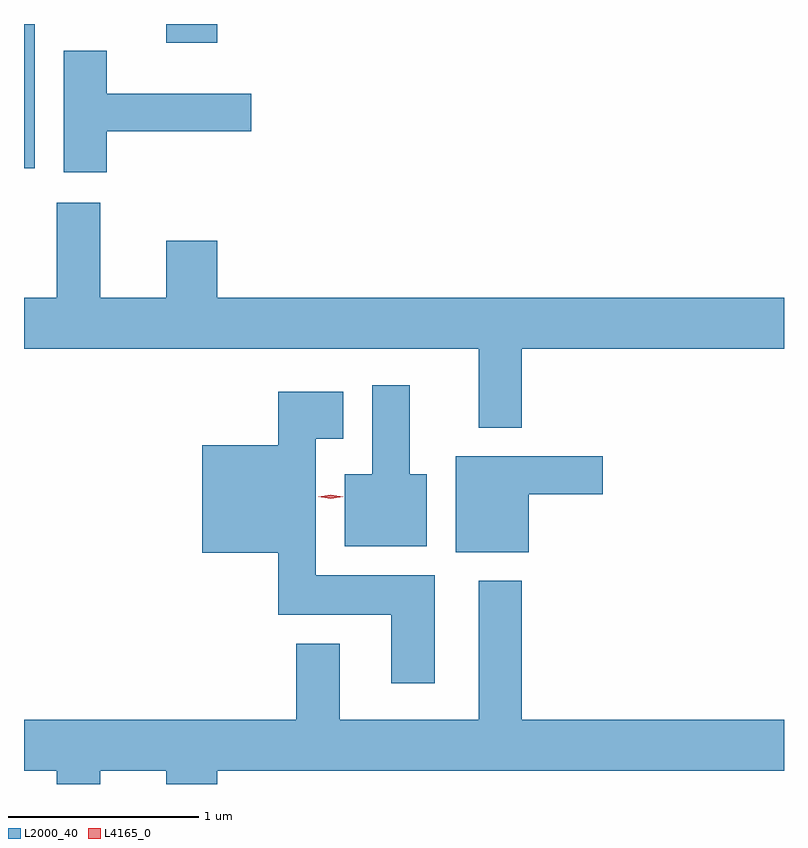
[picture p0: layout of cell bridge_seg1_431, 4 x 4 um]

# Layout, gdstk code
import gdstk
lib = gdstk.Library(unit=1e-6, precision=1e-09)
def R(c, l, rs):  # rectangles x0, y0, x1, y1
    for r in rs: c.add(gdstk.rectangle(r[:2], r[2:], *l))
def P(c, l, *ps):  # polygons
    for p in ps: c.add(gdstk.Polygon(p, *l))
L2000_40 = (2000, 40)
L4165_0 = (4165, 0)

bridge_seg1_431 = lib.new_cell('bridge_seg1_431')
R(bridge_seg1_431, L2000_40, [(374.168,878.326,374.224,879.085), (374.916,878.986,375.184,879.085)])
P(bridge_seg1_431, L2000_40, [(374.604,878.521),(375.364,878.521),(375.364,878.719),(374.604,878.719),(374.604,878.944),(374.376,878.944),(374.376,878.306),(374.604,878.306)],
  [(376.789,877.376),(378.168,877.376),(378.168,877.644),(375.184,877.644),(375.184,877.944),(374.916,877.944),(374.916,877.644),(374.569,877.644),(374.569,878.144),(374.341,878.144),(374.341,877.644),(374.168,877.644),(374.168,877.376),(376.561,877.376),(376.561,876.961),(376.789,876.961)],
  [(376.289,876.714),(376.199,876.714),(376.199,877.184),(376.001,877.184),(376.001,876.714),(375.856,876.714),(375.856,876.336),(376.289,876.336)],
  [(376.329,876.184),(375.704,876.184),(375.704,876.901),(375.849,876.901),(375.849,877.149),(375.506,877.149),(375.506,876.869),(375.106,876.869),(375.106,876.301),(375.506,876.301),(375.506,875.976),(376.101,875.976),(376.101,875.616),(376.329,875.616)],
  [(376.824,876.611),(377.214,876.611),(377.214,876.809),(376.441,876.809),(376.441,876.306),(376.824,876.306)],
  [(374.569,875.156),(374.916,875.156),(374.916,875.085),(375.184,875.085),(375.184,875.156),(378.168,875.156),(378.168,875.424),(376.789,875.424),(376.789,876.154),(376.561,876.154),(376.561,875.424),(375.829,875.424),(375.829,875.824),(375.601,875.824),(375.601,875.424),(374.168,875.424),(374.168,875.156),(374.341,875.156),(374.341,875.085),(374.569,875.085)])
P(bridge_seg1_431, L4165_0, [(375.782,876.587),(375.716,876.596),(375.716,876.597),(375.716,876.597),(375.782,876.607),(375.848,876.597),(375.848,876.597),(375.848,876.596)])

lib.write_gds('bridge_seg1_431.gds')
